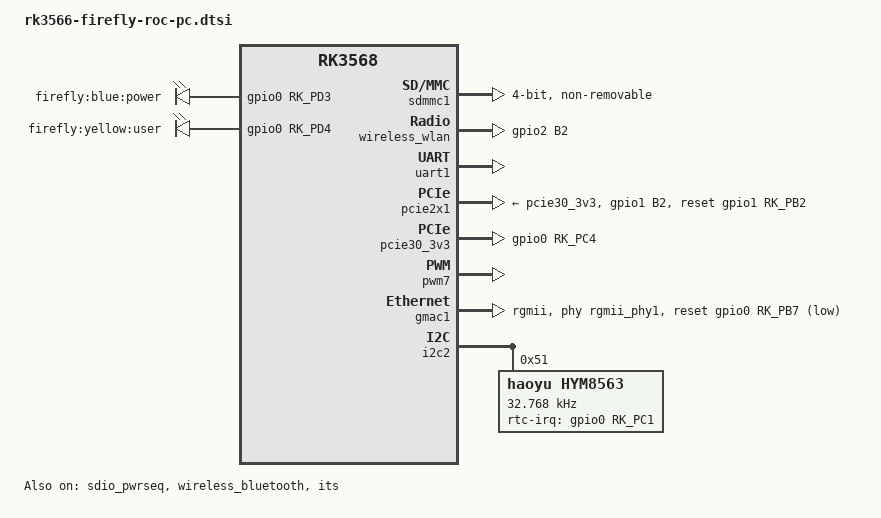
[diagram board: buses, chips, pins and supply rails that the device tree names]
// SPDX-License-Identifier: (GPL-2.0+ OR MIT)
/*
 * Copyright (c) 2020 Rockchip Electronics Co., Ltd.
 *
 */

#include "rk3568-firefly-port.dtsi"
#include "rk3566-diff.dtsi"

/delete-node/ &hym8563;
/delete-node/ &qos_sata2;
/delete-node/ &sata2;

/ {
    sd_vcc3v3_power: sd-vcc3v3-power {
		status = "disabled";
        compatible = "regulator-fixed";
        enable-active-high;
        gpio = <&gpio0 RK_PA5 GPIO_ACTIVE_HIGH>;
        pinctrl-names = "default";
        pinctrl-0 = <&sd_vcc3v3_power_en>;
        regulator-name = "sd_vcc3v3_power_en";
        regulator-min-microvolt = <3300000>;
        regulator-max-microvolt = <3300000>;
        regulator-always-on;
        regulator-boot-on;
        regulator-state-mem {
            regulator-off-in-suspend;
        };
   };

    firefly_leds: leds {
       compatible = "gpio-leds";
       power_led: power {
           label = "firefly:blue:power";
           linux,default-trigger = "ir-power-click";
           default-state = "on";
           gpios = <&gpio0 RK_PD3 GPIO_ACTIVE_HIGH>;
           pinctrl-names = "default";
           pinctrl-0 = <&led_power>;
       };

       user_led: user {
           label = "firefly:yellow:user";
           linux,default-trigger = "ir-user-click";
           default-state = "off";
           gpios = <&gpio0 RK_PD4 GPIO_ACTIVE_HIGH>;
           pinctrl-names = "default";
           pinctrl-0 = <&led_user>;
       };
   };
};

/* USB vbus config  */
&vcc5v0_host {
    gpio = <&gpio0 RK_PA6 GPIO_ACTIVE_HIGH>;
    pinctrl-names = "default";
    pinctrl-0 = <&vcc5v0_host_vbus_en>;
};
&vcc5v0_otg {
	status = "disabled";
};

&u2phy0_otg {
	/delete-property/ vbus-supply;
};

/* sdcard config */
&sdmmc0 {
    /delete-property/ vmmc-supply;
};

/* WiFi config */
&sdmmc1 {
    max-frequency = <150000000>;
    supports-sdio;
    bus-width = <4>;
    disable-wp;
    cap-sd-highspeed;
    cap-sdio-irq;
    keep-power-in-suspend;
    mmc-pwrseq = <&sdio_pwrseq>;
    non-removable;
    pinctrl-names = "default";
    pinctrl-0 = <&sdmmc1_bus4 &sdmmc1_cmd &sdmmc1_clk>;
    sd-uhs-sdr104;
    rockchip,default-sample-phase = <90>;
    status = "okay";
};

&sdio_pwrseq {
    reset-gpios = <&gpio2 RK_PB1 GPIO_ACTIVE_LOW>;
    status = "okay";
};

&wifi_enable_h {
    rockchip,pins = <2 RK_PB1 RK_FUNC_GPIO &pcfg_pull_none>;
};

// iomux with GPIO2_B2(WIFI,host_wake_irq)
&uart8 {
    status = "disabled";
};

&wireless_wlan {
    wifi_chip_type = "ap6356s";
    pinctrl-names = "default";
    pinctrl-0 = <&wifi_host_wake_irq>;
    //WIFI,poweren_gpio = <&gpio3 29 0>;
    WIFI,host_wake_irq = <&gpio2 RK_PB2 0>;
    status = "okay";
};

/* BT config */
&uart1 {
    pinctrl-names = "default";
    pinctrl-0 = <&uart1m0_xfer &uart1m0_ctsn>;
    status = "okay";
};

&wireless_bluetooth {
    uart_rts_gpios = <&gpio2 RK_PB5 GPIO_ACTIVE_LOW>;
    pinctrl-names = "default", "rts_gpio";
    pinctrl-0 = <&uart1m0_rtsn
        &bt_host_wake_gpio
        &bt_poweren
        &bt_host_wake_irq>;
    pinctrl-1 = <&uart1_rts_gpio>;
    BT,reset_gpio    = <&gpio2 RK_PB7 GPIO_ACTIVE_HIGH>;
    BT,wake_gpio     = <&gpio2 RK_PC0 GPIO_ACTIVE_HIGH>;
    BT,wake_host_irq = <&gpio2 RK_PC1 GPIO_ACTIVE_HIGH>;
    status = "okay";
};

&rk809_codec {
    //hp-ctl-gpios = <&gpio4 RK_PC3 GPIO_ACTIVE_HIGH>;
    //spk-ctl = <&gpio0 RK_PA6 GPIO_ACTIVE_HIGH>;
    io-channels = <&saradc 3>;
    hp-det-adc-value = <941>;
    hp_adc_drift_scope = <20>;
    board-spk-from-hp;
};
&spk_ctl_gpio{
	rockchip,pins = <0 RK_PA6 RK_FUNC_GPIO &pcfg_pull_up>;
};
&can1{
	status = "disabled";
};

&pcie2x1 {
    reset-gpios = <&gpio1 RK_PB2 GPIO_ACTIVE_HIGH>;
    pinctrl-names = "default";
    pinctrl-0 = <&pcie_reset_gpio>;
	vpcie3v3-supply = <&pcie30_3v3>;
    status = "okay";
};

&pcie30_3v3 {
	status = "okay";
	gpios = <&gpio0 RK_PC4 GPIO_ACTIVE_HIGH>;
};

&its {
    status = "okay";
};

&pwm7 {
    status = "okay";
};

&pinctrl {
	usb {
		vcc5v0_host_vbus_en: vcc5v0-host-en {
			rockchip,pins = <0 RK_PA6 RK_FUNC_GPIO &pcfg_pull_none>;
		};
	};
	sd {
		sd_vcc3v3_power_en: sd-vcc3v3-power-en {
			rockchip,pins = <0 RK_PA5 RK_FUNC_GPIO &pcfg_pull_none>;
		};
	};

    wireless-wlan {
        wifi_host_wake_irq: wifi-host-wake-irq {
            rockchip,pins = <2 RK_PB2 RK_FUNC_GPIO &pcfg_pull_down>;
        };
    };

    wireless-bluetooth {
        uart1_rts_gpio: uart1-rts-gpio {
            rockchip,pins = <2  RK_PB5 RK_FUNC_GPIO &pcfg_pull_none>;
        };

        bt_host_wake_irq: bt-host-wake-irq {
            rockchip,pins = <2 RK_PC1 RK_FUNC_GPIO &pcfg_pull_down>;
        };
        bt_host_wake_gpio: bt-host-wake-gpio {
            rockchip,pins = <2 RK_PC0 RK_FUNC_GPIO &pcfg_pull_down>;
        };
        bt_poweren: bt-poweren {
            rockchip,pins = <2 RK_PB7 RK_FUNC_GPIO &pcfg_pull_down>;
        };
    };

    pcie {
        pcie_reset_gpio: pcie-reset-gpio {
			rockchip,pins = <1 RK_PB2 RK_FUNC_GPIO &pcfg_pull_none>;
		};
    };
    leds {
         led_power: led-power {
             rockchip,pins = <0 RK_PD3 RK_FUNC_GPIO &pcfg_pull_none>;
         };

         led_user: led-user {
             rockchip,pins = <0 RK_PD4 RK_FUNC_GPIO &pcfg_pull_none>;
         };
    };
};

&gmac1 {
    phy-mode = "rgmii";
    clock_in_out = "input";

    snps,reset-gpio = <&gpio0 RK_PB7 GPIO_ACTIVE_LOW>;
    snps,reset-active-low;
    /* Reset time is 20ms, 100ms for rtl8211f */
    snps,reset-delays-us = <0 20000 100000>;

    assigned-clocks = <&cru SCLK_GMAC1_RX_TX>, <&cru SCLK_GMAC1>;
    assigned-clock-parents = <&cru SCLK_GMAC1_RGMII_SPEED>, <&gmac1_clkin>;

    pinctrl-names = "default";
    pinctrl-0 = <&gmac1m0_miim
             &gmac1m0_tx_bus2
             &gmac1m0_rx_bus2
             &gmac1m0_rgmii_clk
             &gmac1m0_rgmii_bus
             &gmac1m0_clkinout>;

    tx_delay = <0x4e>;
    rx_delay = <0x2c>;

    phy-handle = <&rgmii_phy1>;
    status = "okay";
};

&rgmii_phy1 {
	led_status_value = <0x2f60>;
};

&i2c2 {
    status = "okay";
   // pinctrl-0 = <&i2c2m1_xfer>;

	hym8563: hym8563@51 {
		status = "okay";
		compatible = "haoyu,hym8563";
		reg = <0x51>;
		#clock-cells = <0>;
		rtc-irq-gpio = <&gpio0 RK_PC1 IRQ_TYPE_EDGE_FALLING>;
		clock-frequency = <32768>;
		//clock-output-names = "xin32k";
		/* rtc_int is not connected */
	};
};

&csi2_dphy0{
    status="disabled";
};

&csi2_dphy2{
    status = "disabled";
};

&csi2_dphy1 {
    status = "disabled";
   /*
    * dphy1 only used for split mode,
    * can be used  concurrently  with dphy2
    * full mode and split mode are mutually exclusive
    */
};

&rk809 {
    rtc {
        status = "disabled";
    };
};
